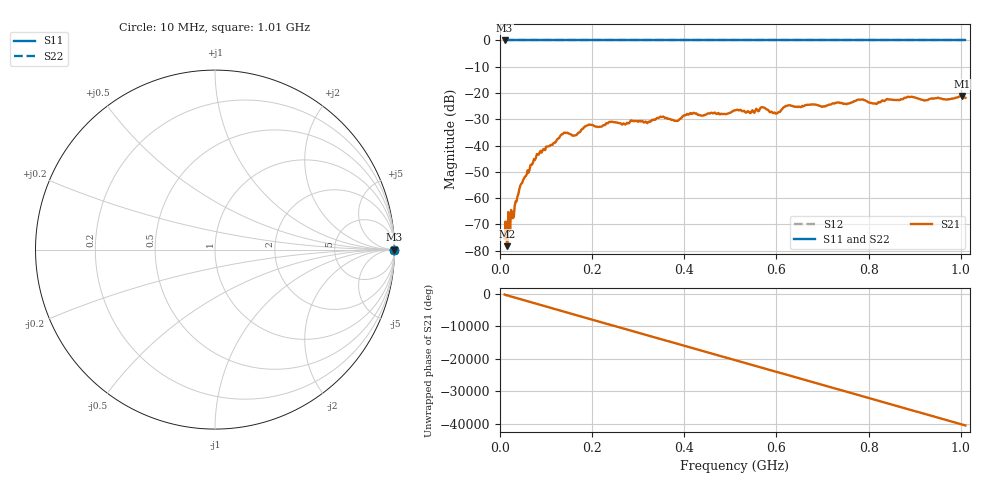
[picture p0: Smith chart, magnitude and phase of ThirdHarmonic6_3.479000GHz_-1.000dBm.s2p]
! 8/17/2025 11:18:38 AM
! C:\ANRITSUVNA\TEMP\TEMP.S2P
! CHANNEL.1
! TR.MEASUREMENT
! RAW.DATA
! RF.CORRECTION.OFF
! AVERAGING.OFF
! IF.BANDWIDTH: 5KHZ
! SWEEPTYPE:  FREQ.SWEEP(Linear)
! Reference Plane Port Info
! PORT:  PORT1  PORT2
! DISTANCE:  0  m  0  m
! TIME:  0  s  0  s
! PHASE.OFFSET:  0  deg.  0  deg.
! LOSS:  0  dB  0  dB
! REF.LOSS:  0  dB  0  dB
! REF.FREQ:  0  Hz  0  Hz
! Power Info
! POWER:  -20  dBm  -20  dBm
! EFF.POWER:  -20  dBm  -20  dBm
! SOURCE.ATTEN:  0  dB  0  dB
! TEST.ATTEN:  0  dB  0  dB
# GHZ S RI R 50.0
! FREQ.GHZ  S11RE  S11IM  S21RE  S21IM  S12RE  S12IM  S22RE  S22IM
!; PortSelection: Port_12
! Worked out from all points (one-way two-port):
!   501 points, 10 MHz to 1.01 GHz, reference 50 ohm
!   highest |S21| = -21.13 dB at 1.002 GHz (marker M1); lowest = -78.3 dB at 16 MHz (marker M2)
!   lowest |S11| = 0.0 dB at 10 MHz (marker M3)
!   |S11| at or under -10 dB: nowhere
!   |S22| runs from 0.0 to 0.0 dB; largest |S21 - S12| = 1.1
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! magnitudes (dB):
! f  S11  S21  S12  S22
! 10 MHz  0.0  -75.3  0.0  0.0
! 12 MHz  0.0  -68.9  0.0  0.0
! 16 MHz  0.0  -78.3  0.0  0.0
! 18 MHz  0.0  -65.3  0.0  0.0
! 22 MHz  0.0  -72.0  0.0  0.0
! 26 MHz  0.0  -65.4  0.0  0.0
! 46 MHz  0.0  -54.5  0.0  0.0
! 84 MHz  0.0  -43.5  0.0  0.0
! 136 MHz  0.0  -35.7  0.0  0.0
! 162 MHz  0.0  -36.2  0.0  0.0
! 178 MHz  0.0  -33.8  0.0  0.0
! 344 MHz  0.0  -29.5  0.0  0.0
! 382 MHz  0.0  -30.6  0.0  0.0
! 416 MHz  0.0  -27.9  0.0  0.0
! 510 MHz  0.0  -26.6  0.0  0.0
! 570 MHz  0.0  -25.4  0.0  0.0
! 598 MHz  0.0  -27.8  0.0  0.0
! 624 MHz  0.0  -24.7  0.0  0.0
! 678 MHz  0.0  -24.3  0.0  0.0
! 844 MHz  0.0  -22.5  0.0  0.0
! 1.002 GHz  0.0  -21.1  0.0  0.0
! 1.01 GHz  0.0  -21.8  0.0  0.0
